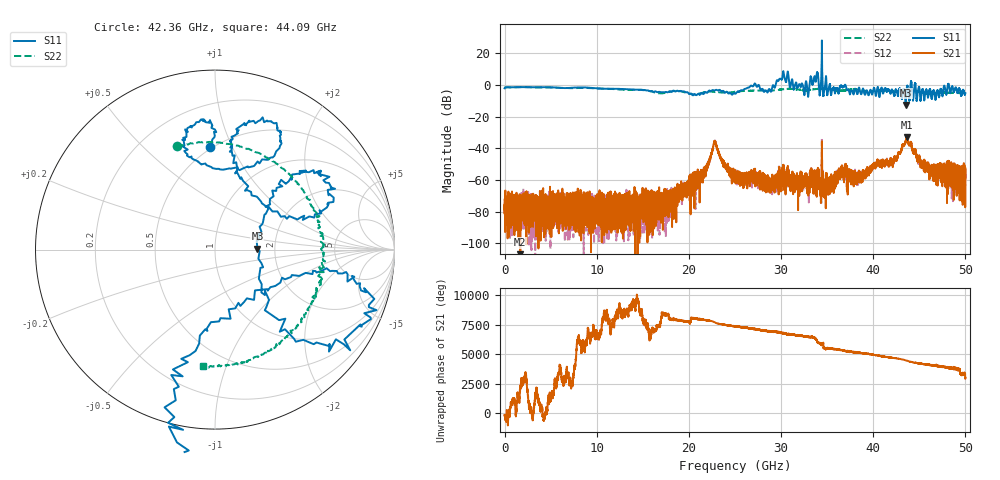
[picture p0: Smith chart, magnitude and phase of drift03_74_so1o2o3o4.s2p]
!Created with skrf (http://scikit-rf.org).
# Hz S RI R 50.0
!freq ReS11 ImS11 ReS21 ImS21 ReS12 ImS12 ReS22 ImS22
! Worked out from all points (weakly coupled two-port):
!   10000 points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, 5.3 MHz to 50 GHz, reference 50 ohm
!   highest |S21| = -33.04 dB at 43.64 GHz (marker M1); lowest = -110.9 dB at 1.705 GHz (marker M2)
!   lowest |S11| = -12.5 dB at 43.52 GHz (marker M3), VSWR 1.62, Z = 81 + j0.94 ohm
!   |S11| at or under -10 dB: 43.48348 GHz to 43.55384 GHz (70.35 MHz wide, 0.162 % of centre); 44.70664 GHz to 44.71037 GHz (3.732 MHz wide, 0.00835 % of centre)
!   |S22| runs from -5.9 to -1.3 dB; largest |S21 - S12| = 0.014
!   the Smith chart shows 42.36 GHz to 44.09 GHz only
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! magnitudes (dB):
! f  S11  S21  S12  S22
! 5.3 MHz  -2.1  -78.3  -76.4  -2.1
! 1.705 GHz  -1.3  -110.9  -89.3  -1.4
! 8.34 GHz  -1.5  -78.7  -73.5  -1.9
! 16.67 GHz  -4.4  -73.9  -79.4  -5.2
! 18.14 GHz  -4.3  -77.9  -72.8  -4.0
! 21.25 GHz  -5.8  -57.9  -54.4  -5.2
! 22.82 GHz  -3.4  -35.3  -35.1  -4.4
! 25.01 GHz  -5.5  -61.2  -59.7  -4.3
! 27.02 GHz  -0.3  -56.1  -56.5  -3.4
! 28.72 GHz  -2.5  -65.4  -66.1  -3.6
! 30.14 GHz  4.4  -62.4  -56.0  -2.8
! 32.74 GHz  2.0  -59.6  -59.5  -3.3
! 33.34 GHz  2.6  -58.5  -57.2  -2.9
! 33.82 GHz  4.0  -60.5  -61.8  -2.6
! 34.92 GHz  1.7  -55.8  -57.1  -2.4
! 36.47 GHz  -0.5  -53.6  -54.9  -3.6
! 38.47 GHz  -1.6  -54.0  -54.8  -3.0
! 41.67 GHz  -2.9  -51.7  -50.3  -3.7
! 43.52 GHz  -12.5  -35.8  -35.6  -4.2
! 43.64 GHz  -1.6  -33.0  -33.5  -4.0
! 46.35 GHz  -8.2  -56.2  -54.9  -5.5
! 50 GHz  -5.2  -58.5  -56.1  -4.9
